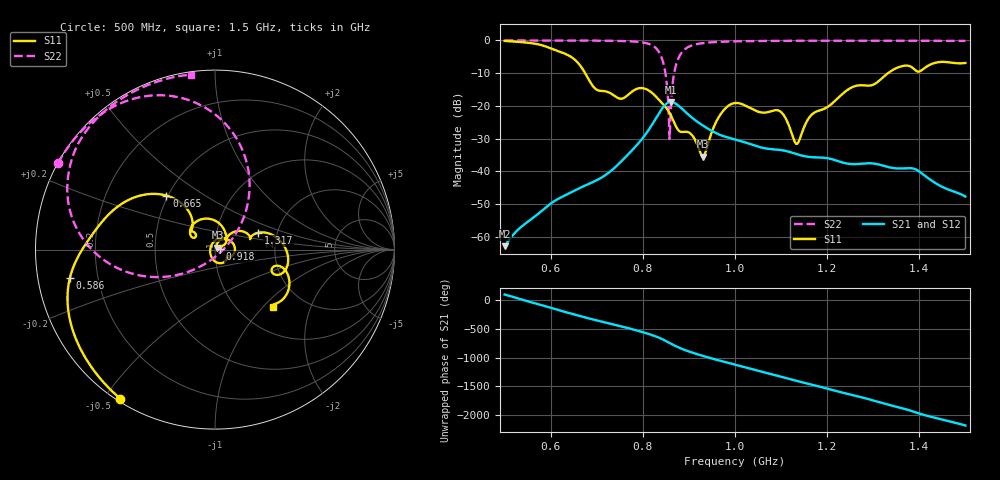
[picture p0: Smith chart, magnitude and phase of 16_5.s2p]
! TOUCHSTONE file generated by CST MICROWAVE STUDIO
! Date and time: Mon Oct 26 12:26:47 2020
! Project name: Scenario_1_Circular_Tissue_out_of_Line.cst
! Parameters = {dy1=-85.885; L_HA=400; MT=2.54; Rad_Dielectric=30; Rad_Lower=7.3; Rad_Upper=30; a_HA=580; a_WG=246; b_HA=500; b_WG=121; c_HA=0; c_WG=187; d_feed=85; dx1=866; h_feed=15; h_lower=18; h_upper=40}
! Header version: 2018
! Port assignment regex: !\s*Touchstone port\s*([0-9]+)\s*=\s*(CST MWS port|CST DS port)\s*([0-9]+|Zmin|Zmax)\s*\(\"(.*)\"\)(\s*mode\s*([0-9]+))?.*
! Touchstone port assignment:
! Touchstone port 1 = CST MWS port 1 ("")
! Touchstone port 2 = CST MWS port 2 ("")
# GHz S DB R 50
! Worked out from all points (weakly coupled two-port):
!   1001 points, 500 MHz to 1.5 GHz, reference 50 ohm
!   highest |S21| = -18.78 dB at 861 MHz (marker M1); lowest = -62.8 dB at 500 MHz (marker M2)
!   lowest |S11| = -35.5 dB at 930 MHz (marker M3), VSWR 1.03, Z = 51.4 + j1.02 ohm
!   |S11| at or under -10 dB: 674.9 MHz to 1.332 GHz (657.1 MHz wide, 65.5 % of centre)
!   |S22| runs from -30.0 to 0.0 dB; largest |S21 - S12| = 8.3e-06
!   S11 on the Smith chart (normalised r, x): 500 MHz: 0.01, -0.55; 586 MHz: 0.10, -0.09; 665 MHz: 0.49, +0.35; 918 MHz: 1.05, +0.01; 1.317 GHz: 1.59, +0.32; 1.5 GHz: 1.42, -1.13
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0.5  -0.14 -122.4  -62.80 99.0  -62.80 99.0  -0.01 151.1
0.586  -1.69 -169.1  -51.36 -97.9  -51.36 -97.9  -0.02 145.2
0.665  -7.86 131.9  -44.91 81.6  -44.91 81.6  -0.04 138.6
0.667  -8.25 130.4  -44.78 77.3  -44.78 77.3  -0.04 138.4
0.702  -15.19 137.2  -42.52 5.3  -42.52 5.3  -0.07 134.6
0.78  -15.26 143.8  -33.02 -151.3  -33.02 -151.3  -0.33 120.4
0.834  -17.97 68.0  -22.47 71.1  -22.47 71.1  -3.31 83.5
0.848  -20.12 50.1  -19.72 18.3  -19.72 18.3  -9.20 57.1
0.856  -21.65 38.7  -18.91 -15.5  -18.91 -15.5  -21.83 23.3
0.861  -22.94 32.3  -18.78 -36.8  -18.78 -36.8  -19.74 -126.5
0.868  -25.07 26.9  -19.04 -65.7  -19.04 -65.7  -9.97 -151.5
0.877  -27.38 29.0  -19.87 -99.8  -19.87 -99.8  -5.50 -167.6
0.918  -31.78 10.7  -24.80 140.8  -24.80 140.8  -1.09 158.9
0.93  -35.46 36.1  -25.95 111.6  -25.95 111.6  -0.83 154.5
0.966  -23.12 53.8  -28.75 30.8  -28.75 30.8  -0.43 145.7
1  -19.11 6.0  -30.21 -42.3  -30.21 -42.3  -0.27 140.3
1.097  -21.56 -64.4  -33.41 114.6  -33.41 114.6  -0.13 130.0
1.133  -31.57 176.2  -34.67 36.8  -34.67 36.8  -0.11 126.9
1.167  -22.59 62.2  -35.64 -30.0  -35.64 -30.0  -0.10 124.2
1.317  -11.78 21.4  -38.06 16.4  -38.06 16.4  -0.08 112.8
1.334  -9.79 15.2  -38.70 -19.7  -38.70 -19.8  -0.09 111.5
1.5  -6.89 -44.7  -47.66 -19.9  -47.66 -19.9  -0.13 97.9
